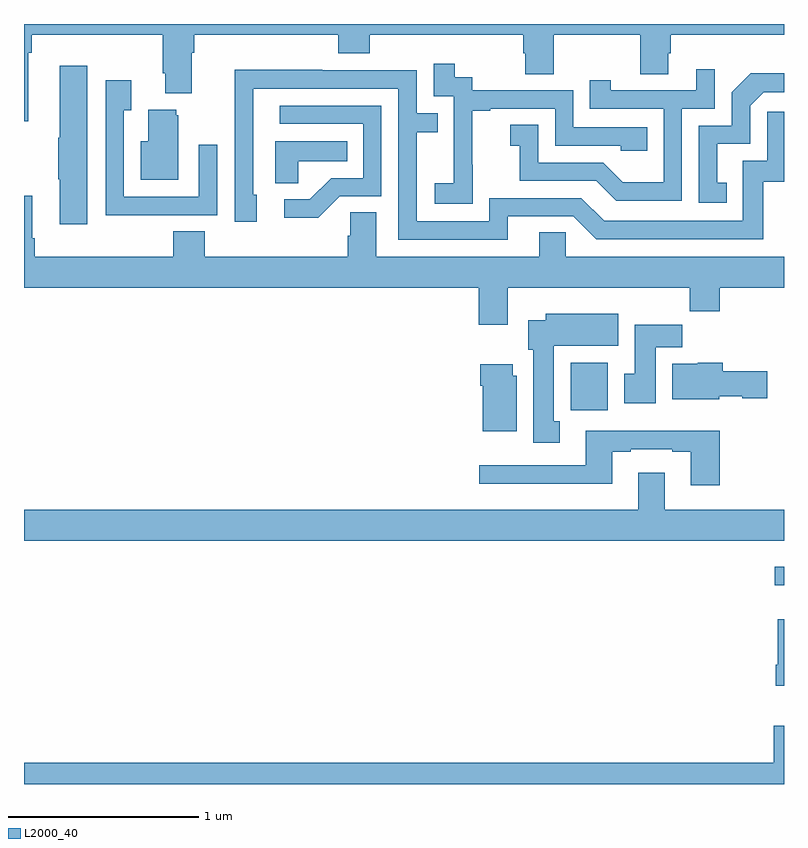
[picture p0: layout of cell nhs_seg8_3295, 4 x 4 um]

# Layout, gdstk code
import gdstk
lib = gdstk.Library(unit=1e-6, precision=1e-09)
def R(c, l, rs):  # rectangles x0, y0, x1, y1
    for r in rs: c.add(gdstk.rectangle(r[:2], r[2:], *l))
def P(c, l, *ps):  # polygons
    for p in ps: c.add(gdstk.Polygon(p, *l))
L2000_40 = (2000, 40)

nhs_seg8_3295 = lib.new_cell('nhs_seg8_3295')
R(nhs_seg8_3295, L2000_40, [(318.951,1102.947,319,1103.044), (317.877,1103.868,318.073,1104.118)])
P(nhs_seg8_3295, L2000_40, [(315.022,1105.748),(315.041,1105.748),(315.041,1105.844),(315.731,1105.844),(315.731,1105.642),(315.743,1105.642),(315.743,1105.535),(315.883,1105.535),(315.883,1105.748),(315.896,1105.748),(315.896,1105.844),(316.655,1105.844),(316.655,1105.745),(316.82,1105.745),(316.82,1105.844),(317.627,1105.844),(317.627,1105.746),(317.639,1105.746),(317.639,1105.636),(317.787,1105.636),(317.787,1105.844),(318.244,1105.844),(318.244,1105.636),(318.391,1105.636),(318.391,1105.746),(318.404,1105.746),(318.404,1105.844),(319,1105.844),(319,1105.9),(315,1105.9),(315,1105.389),(315.022,1105.389)],
  [(317.361,1105.159),(317.36,1105.159),(317.36,1105.443),(317.455,1105.443),(317.455,1105.455),(317.796,1105.455),(317.796,1105.26),(318.141,1105.26),(318.141,1105.233),(318.281,1105.233),(318.281,1105.356),(317.892,1105.356),(317.892,1105.551),(317.358,1105.551),(317.358,1105.62),(317.266,1105.62),(317.266,1105.69),(317.157,1105.69),(317.157,1105.521),(317.262,1105.521),(317.262,1105.292),(317.261,1105.292),(317.261,1105.063),(317.163,1105.063),(317.163,1104.953),(317.361,1104.953)],
  [(315.334,1105.681),(315.188,1105.681),(315.188,1105.301),(315.181,1105.301),(315.181,1105.084),(315.188,1105.084),(315.188,1104.846),(315.334,1104.846)],
  [(318.462,1105.455),(318.636,1105.455),(318.636,1105.663),(318.539,1105.663),(318.539,1105.551),(318.088,1105.551),(318.088,1105.603),(317.977,1105.603),(317.977,1105.455),(318.366,1105.455),(318.366,1105.066),(318.152,1105.066),(318.048,1105.17),(317.706,1105.17),(317.706,1105.369),(317.559,1105.369),(317.559,1105.259),(317.608,1105.259),(317.608,1105.074),(318.011,1105.074),(318.116,1104.969),(318.462,1104.969)],
  [(317.545,1104.888),(317.892,1104.888),(318.012,1104.768),(318.892,1104.768),(318.892,1105.071),(319,1105.071),(319,1105.438),(318.912,1105.438),(318.912,1105.179),(318.783,1105.179),(318.783,1104.864),(318.054,1104.864),(317.934,1104.984),(317.448,1104.984),(317.448,1104.861),(317.067,1104.861),(317.067,1105.33),(317.177,1105.33),(317.177,1105.431),(317.067,1105.431),(317.067,1105.656),(316.571,1105.656),(316.571,1105.658),(316.108,1105.658),(316.108,1105.351),(316.11,1105.351),(316.11,1104.858),(316.225,1104.858),(316.225,1105.002),(316.206,1105.002),(316.206,1105.56),(316.971,1105.56),(316.971,1104.765),(317.545,1104.765)],
  [(318.698,1105.065),(318.649,1105.065),(318.649,1105.269),(318.822,1105.269),(318.822,1105.47),(318.894,1105.542),(319,1105.542),(319,1105.64),(318.824,1105.64),(318.726,1105.542),(318.726,1105.365),(318.552,1105.365),(318.552,1104.96),(318.698,1104.96)],
  [(315.701,1104.894),(316.017,1104.894),(316.017,1105.264),(315.921,1105.264),(315.921,1104.99),(315.525,1104.99),(315.525,1105.447),(315.565,1105.447),(315.565,1105.603),(315.429,1105.603),(315.429,1104.893),(315.701,1104.893)],
  [(316.662,1104.993),(316.881,1104.993),(316.881,1105.47),(316.347,1105.47),(316.347,1105.374),(316.785,1105.374),(316.785,1105.089),(316.616,1105.089),(316.505,1104.978),(316.371,1104.978),(316.371,1104.881),(316.549,1104.881)],
  [(315.811,1105.419),(315.8,1105.419),(315.8,1105.45),(315.653,1105.45),(315.653,1105.282),(315.614,1105.282),(315.614,1105.079),(315.811,1105.079)],
  [(316.443,1105.178),(316.7,1105.178),(316.7,1105.282),(316.322,1105.282),(316.322,1105.063),(316.443,1105.063)],
  [(317.545,1104.512),(318.505,1104.512),(318.505,1104.388),(318.662,1104.388),(318.662,1104.512),(319,1104.512),(319,1104.676),(317.85,1104.676),(317.85,1104.803),(317.711,1104.803),(317.711,1104.676),(316.855,1104.676),(316.855,1104.908),(316.716,1104.908),(316.716,1104.785),(316.703,1104.785),(316.703,1104.676),(315.95,1104.676),(315.95,1104.809),(315.785,1104.809),(315.785,1104.676),(315.056,1104.676),(315.056,1104.772),(315.043,1104.772),(315.043,1104.997),(315,1104.997),(315,1104.512),(317.393,1104.512),(317.393,1104.318),(317.545,1104.318)],
  [(317.821,1103.809),(317.788,1103.809),(317.788,1104.206),(318.127,1104.206),(318.127,1104.376),(317.747,1104.376),(317.747,1104.34),(317.654,1104.34),(317.654,1104.186),(317.681,1104.186),(317.681,1103.697),(317.821,1103.697)],
  [(318.325,1104.2),(318.464,1104.2),(318.464,1104.318),(318.215,1104.318),(318.215,1104.06),(318.158,1104.06),(318.158,1103.904),(318.325,1103.904)],
  [(318.66,1103.942),(318.78,1103.942),(318.78,1103.93),(318.913,1103.93),(318.913,1104.072),(318.677,1104.072),(318.677,1104.118),(318.546,1104.118),(318.546,1104.112),(318.413,1104.112),(318.413,1103.924),(318.66,1103.924)],
  [(317.593,1104.048),(317.572,1104.048),(317.572,1104.109),(317.402,1104.109),(317.402,1103.996),(317.414,1103.996),(317.414,1103.756),(317.593,1103.756)],
  [(318.662,1103.758),(317.957,1103.758),(317.957,1103.577),(317.397,1103.577),(317.397,1103.48),(318.097,1103.48),(318.097,1103.649),(318.193,1103.649),(318.193,1103.661),(318.413,1103.661),(318.413,1103.649),(318.509,1103.649),(318.509,1103.472),(318.662,1103.472)],
  [(318.233,1103.539),(318.233,1103.344),(315,1103.344),(315,1103.18),(319,1103.18),(319,1103.344),(318.373,1103.344),(318.373,1103.539)],
  [(319,1102.768),(318.968,1102.768),(318.968,1102.528),(318.956,1102.528),(318.956,1102.416),(319,1102.416)],
  [(319,1102.207),(318.947,1102.207),(318.947,1102.012),(315,1102.012),(315,1101.9),(319,1101.9)])

lib.write_gds('nhs_seg8_3295.gds')
